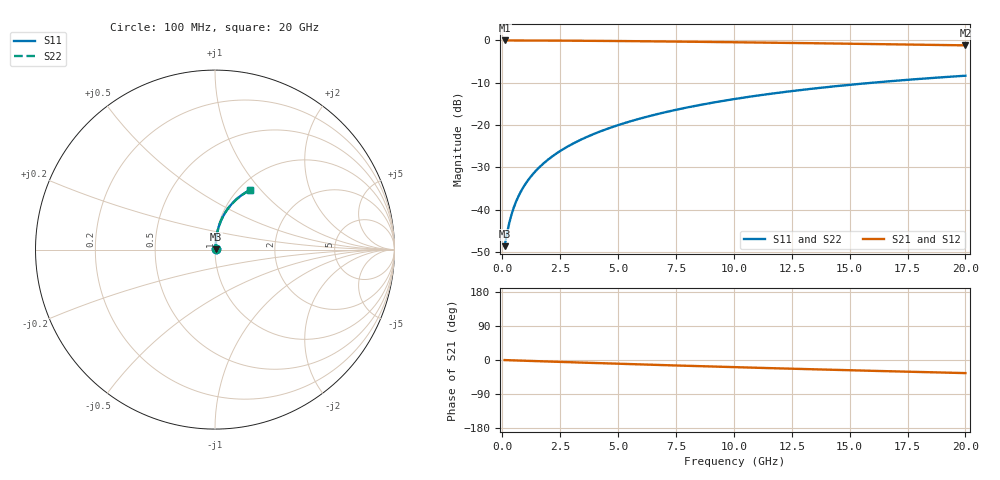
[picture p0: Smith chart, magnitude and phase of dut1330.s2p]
! Touchstone file exported from HFSS 2024.1.0
!  File:  C:/UserFiles/LocalFiles/RDL_TSV_Batchsim/temp_RDL_top_1330_1780365420.aedt
!  Generated:  09:59:19 AM Jun  2, 2026
!  Design:  RDL_top
!  Project:  temp_RDL_top_1330_1780365420
!  Setup:  Setup1
!  Solution:  Sweep
! Variables:
!  dtsv = 10.80580581um
!  hbump = 3um
!  htsv = 63.01um
!  ldown = 100um
!  lrdl = 426.42um
!  p = 40
!  p1 = 54.82um
!  rhole = 1um
!  t = 450um
!  tdown = 3.915915916um
!  trdl = 2.91um
!  wdown = 15.38538539um
!  wrdl = 17.96um
# GHz S MA R 50.000000
! Terminal data exported
! Port[1] = Box2_T1
! Port[2] = Box2_T2
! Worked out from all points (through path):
!   200 points, 100 MHz to 20 GHz, reference 50 ohm
!   highest |S21| = -0.03 dB at 100 MHz (marker M1); lowest = -1.2 dB at 20 GHz (marker M2)
!   group delay of S21, straight-line fit = 4.78 ps
!   lowest |S11| = -48.6 dB at 100 MHz (marker M3), VSWR 1.01, Z = 50.3 + j0.21 ohm
!   |S11| at or under -10 dB: start of sweep to 15.99 GHz
!   |S22| runs from -48.6 to -8.3 dB; largest |S21 - S12| = 2.5e-15
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0.1  0.003726 34.0  0.9969 -0.2  0.9969 -0.2  0.003726 34.0
! Gamma 0 0 0 0
! Port Impedance 50 0 50 0
0.2  0.005215 52.6  0.9968 -0.4  0.9968 -0.4  0.005215 52.6
0.3  0.006983 62.1  0.9967 -0.6  0.9967 -0.6  0.006983 62.1
0.4  0.008836 67.5  0.9966 -0.8  0.9966 -0.8  0.008836 67.5
0.5  0.01071 71.0  0.9964 -1.0  0.9964 -1.0  0.01071 71.0
0.6  0.0126 73.4  0.9963 -1.2  0.9963 -1.2  0.0126 73.4
0.8  0.0164 76.6  0.996 -1.6  0.996 -1.6  0.0164 76.6
1.1  0.02213 79.4  0.9955 -2.2  0.9955 -2.2  0.02213 79.4
1.5  0.02985 81.3  0.9948 -3.0  0.9948 -3.0  0.02985 81.3
1.8  0.03569 82.2  0.9941 -3.6  0.9941 -3.6  0.03569 82.2
2.1  0.04156 82.7  0.9934 -4.2  0.9934 -4.2  0.04156 82.7
2.7  0.05341 83.2  0.9916 -5.4  0.9916 -5.4  0.05341 83.2
3.5  0.0694 83.2  0.9887 -7.0  0.9887 -7.0  0.0694 83.2
4.2  0.08355 82.9  0.9856 -8.3  0.9856 -8.3  0.08355 82.9
5  0.09988 82.2  0.9817 -9.9  0.9817 -9.9  0.09988 82.2
5.9  0.1184 81.3  0.9768 -11.5  0.9768 -11.5  0.1184 81.3
6.8  0.137 80.2  0.9715 -13.2  0.9715 -13.2  0.137 80.2
8.4  0.17 77.9  0.9612 -16.1  0.9612 -16.1  0.17 77.9
10.1  0.2045 75.3  0.9494 -19.0  0.9494 -19.0  0.2045 75.3
13.4  0.269 70.0  0.925 -24.5  0.925 -24.5  0.269 70.0
16.7  0.3286 64.8  0.8992 -29.7  0.8992 -29.7  0.3286 64.8
20  0.3825 59.7  0.8727 -34.6  0.8727 -34.6  0.3825 59.7
